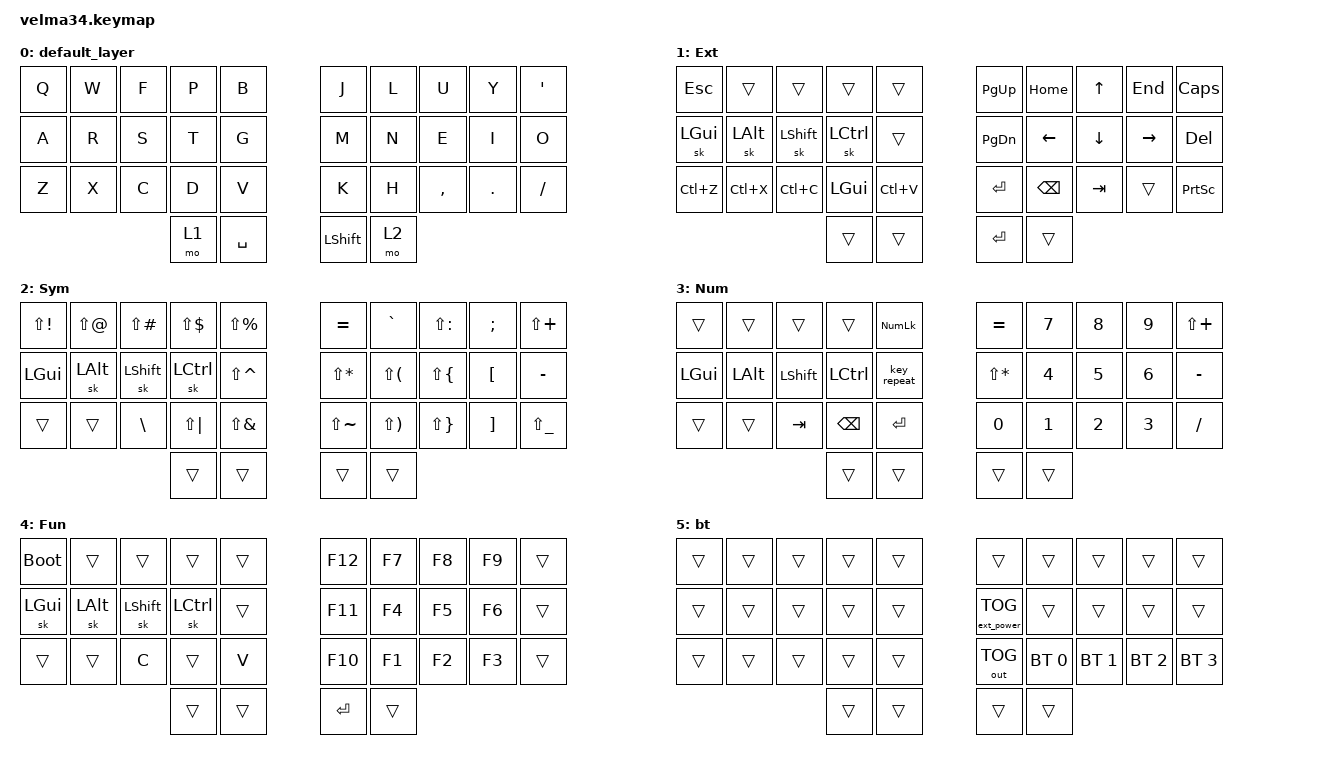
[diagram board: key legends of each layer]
#include <behaviors.dtsi>
#include <dt-bindings/zmk/bt.h>
#include <dt-bindings/zmk/ext_power.h>
#include <dt-bindings/zmk/keys.h>
#include <dt-bindings/zmk/outputs.h>

/ {
    combos {
        compatible = "zmk,combos";

        number_layer {
            bindings = <&mo 3>;
            key-positions = <33 31>;
        };

        fun_layer {
            bindings = <&mo 4>;
            key-positions = <30 33>;
        };

        bt_layer {
            bindings = <&mo 5>;
            key-positions = <30 32>;
        };

        esc {
            bindings = <&kp ESCAPE>;
            key-positions = <1 2>;
        };

        tab {
            bindings = <&kp TAB>;
            key-positions = <21 22>;
        };

        bsp {
            bindings = <&kp BACKSPACE>;
            key-positions = <8 7>;
        };

        ent {
            bindings = <&kp ENTER>;
            key-positions = <28 27>;
        };
    };

    keymap {
        compatible = "zmk,keymap";

        default_layer {
            bindings = <
&kp Q  &kp W  &kp F  &kp P  &kp B      &kp J           &kp L  &kp U      &kp Y    &kp SQT
&kp A  &kp R  &kp S  &kp T  &kp G      &kp M           &kp N  &kp E      &kp I    &kp O
&kp Z  &kp X  &kp C  &kp D  &kp V      &kp K           &kp H  &kp COMMA  &kp DOT  &kp SLASH
                     &mo 1  &kp SPACE  &kp LEFT_SHIFT  &mo 2
            >;
        };

        Ext {
            bindings = <
&kp ESCAPE    &trans        &trans          &trans        &trans     &kp PG_UP  &kp HOME       &kp UP    &kp END    &kp CAPS
&sk LEFT_GUI  &sk LEFT_ALT  &sk LEFT_SHIFT  &sk LCTRL     &trans     &kp PG_DN  &kp LEFT       &kp DOWN  &kp RIGHT  &kp DEL
&kp LC(Z)     &kp LC(X)     &kp LC(C)       &kp LEFT_GUI  &kp LC(V)  &kp ENTER  &kp BACKSPACE  &kp TAB   &trans     &kp PRINTSCREEN
                                            &trans        &trans     &kp ENTER  &trans
            >;
        };

        Sym {
            bindings = <
&kp LS(EXCL)  &kp LS(AT)  &kp LS(POUND)  &kp LS(DLLR)  &kp LS(PRCNT)  &kp EQUAL      &kp GRAVE     &kp LS(COLON)  &kp SEMI  &kp LS(PLUS)
&kp LGUI      &sk LALT    &sk LSHFT      &sk LCTRL     &kp LS(CARET)  &kp LS(STAR)   &kp LS(LPAR)  &kp LS(LBRC)   &kp LBKT  &kp MINUS
&trans        &trans      &kp BSLH       &kp LS(PIPE)  &kp LS(AMPS)   &kp LS(TILDE)  &kp LS(RPAR)  &kp LS(RBRC)   &kp RBKT  &kp LS(UNDER)
                                         &trans        &trans         &trans         &trans
            >;
        };

        Num {
            bindings = <
&trans    &trans    &trans     &trans     &kp KP_NUMLOCK  &kp EQUAL     &kp N7  &kp N8  &kp N9  &kp LS(PLUS)
&kp LGUI  &kp LALT  &kp LSHFT  &kp LCTRL  &key_repeat     &kp LS(STAR)  &kp N4  &kp N5  &kp N6  &kp MINUS
&trans    &trans    &kp TAB    &kp BSPC   &kp ENTER       &kp N0        &kp N1  &kp N2  &kp N3  &kp FSLH
                               &trans     &trans          &trans        &trans
            >;
        };

        Fun {
            bindings = <
&bootloader  &trans    &trans          &trans     &trans  &kp F12    &kp F7  &kp F8  &kp F9  &trans
&sk LGUI     &sk LALT  &sk LEFT_SHIFT  &sk LCTRL  &trans  &kp F11    &kp F4  &kp F5  &kp F6  &trans
&trans       &trans    &kp C           &trans     &kp V   &kp F10    &kp F1  &kp F2  &kp F3  &trans
                                       &trans     &trans  &kp ENTER  &trans
            >;
        };

        bt {
            bindings = <
&trans  &trans  &trans  &trans  &trans  &trans             &trans        &trans        &trans        &trans
&trans  &trans  &trans  &trans  &trans  &ext_power EP_TOG  &trans        &trans        &trans        &trans
&trans  &trans  &trans  &trans  &trans  &out OUT_TOG       &bt BT_SEL 0  &bt BT_SEL 1  &bt BT_SEL 2  &bt BT_SEL 3
                        &trans  &trans  &trans             &trans
            >;
        };
    };
};
